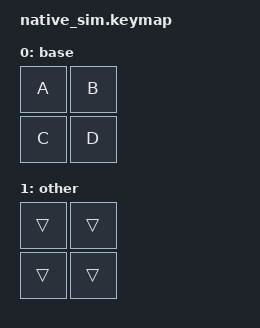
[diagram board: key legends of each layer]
/*
 * Copyright (c) 2026 amgskobo
 * SPDX-License-Identifier: MIT
 */

#if defined(PADSTICK_TEST_ORIGINAL_ORDER)
#include <behaviors.dtsi>
#endif
#include <physical_layouts.dtsi>
#include <dt-bindings/zmk/matrix_transform.h>
#include <dt-bindings/zmk/keys.h>
#include <dt-bindings/zmk/kscan_mock.h>

/ {
    physical_layout {
        compatible = "zmk,physical-layout";
        display-name = "Test";
        transform = <&transform>;
        keys = <&key_physical_attrs 100 100 0 0 0 0 0>,
               <&key_physical_attrs 100 100 100 0 0 0 0>,
               <&key_physical_attrs 100 100 0 100 0 0 0>,
               <&key_physical_attrs 100 100 100 100 0 0 0>;
    };
    transform: transform {
        compatible = "zmk,matrix-transform";
        rows = <2>; columns = <2>;
        map = <RC(0,0) RC(0,1) RC(1,0) RC(1,1)>;
    };
    keymap {
        compatible = "zmk,keymap";

        base {
            bindings = <&kp A &kp B &kp C &kp D>;
        };

        other {
            bindings = <&trans &trans &trans &trans>;
        };
    };

    /* Unit scale and no deadzone, so a displacement comes out as the same count. */
    padstick_runtime_test: stick_runtime {
        compatible = "zmk,input-processor-padstick";
        #input-processor-cells = <0>;
        x-deadzone = <0>;
        y-deadzone = <0>;
        x-scale = <256>;
        y-scale = <256>;
        x-accel-range = <0>;
        y-accel-range = <0>;
        max-x = <127>;
        max-y = <127>;



    };

    /*
     * Two idle sources and their listeners. They send nothing; they only make
     * sure the processor has at least two streams, which the self-tests drive
     * directly.
     */
    idle_source_a: idle_source_a {
        compatible = "zmk,input-mock";
        event-period = <100>;
        events = <>;
    };

    padstick_touch_passthrough: stick_pass {
        compatible = "zmk,input-processor-padstick";
        #input-processor-cells = <0>;
    };

    /* Actual input queue endpoint; acknowledgements are explicitly controlled. */
    repeat_sink: repeat_sink {
        compatible = "zmk,input-mock";
        event-period = <100>;
        events = <>;
    };

    idle_source_b: idle_source_b {
        compatible = "zmk,input-mock";
        event-period = <100>;
        events = <>;
    };

    idle_listener_a {
        compatible = "zmk,input-listener";
        device = <&idle_source_a>;
        input-processors = <&padstick_runtime_test>;
    };

    idle_listener_b {
        compatible = "zmk,input-listener";
        device = <&idle_source_b>;
        input-processors = <&padstick_runtime_test>;
    };

};

/* An empty mock exits at boot; one late press keeps the process up for the tests. */
&kscan {
    events = <ZMK_MOCK_PRESS(0,0,30000)>;
};

/* Both profiles retain every mouse behavior. The original-order profile keeps
 * their first three global indices; the limited profile gives PadStick0/1. */
#if !defined(PADSTICK_TEST_ORIGINAL_ORDER)
#include <behaviors.dtsi>
#endif
